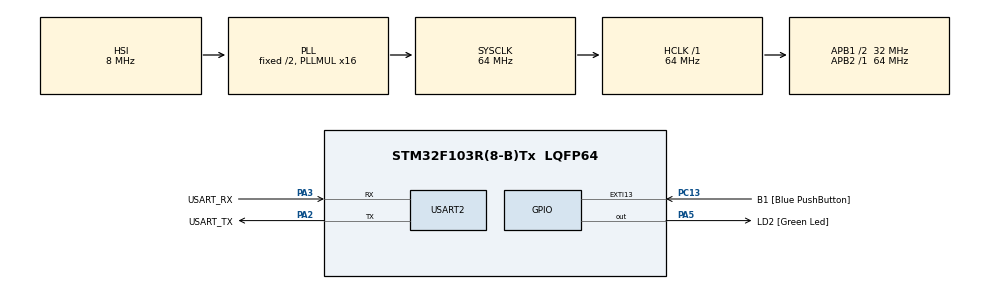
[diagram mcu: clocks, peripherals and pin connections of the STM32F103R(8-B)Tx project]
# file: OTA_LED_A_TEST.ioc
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Mcu.Family=STM32F1
Mcu.Name=STM32F103R(8-B)Tx
Mcu.Package=LQFP64
NVIC.EXTI15_10_IRQn=true\:0\:0\:false\:false\:true\:true\:true\:true
NVIC.PriorityGroup=NVIC_PRIORITYGROUP_4
PA13.GPIO_Label=TMS
PA13.Mode=Serial_Wire
PA13.Signal=SYS_JTMS-SWDIO
PA14.GPIO_Label=TCK
PA14.Mode=Serial_Wire
PA14.Signal=SYS_JTCK-SWCLK
PA2.GPIO_Label=USART_TX
PA2.GPIO_Mode=GPIO_MODE_AF_PP
PA2.GPIO_PuPd=GPIO_NOPULL
PA2.GPIO_Speed=GPIO_SPEED_FREQ_LOW
PA2.Mode=Asynchronous
PA2.Signal=USART2_TX
PA3.GPIO_Label=USART_RX
PA3.GPIO_Mode=GPIO_MODE_AF_PP
PA3.GPIO_PuPd=GPIO_NOPULL
PA3.GPIO_Speed=GPIO_SPEED_FREQ_LOW
PA3.Mode=Asynchronous
PA3.Signal=USART2_RX
PA5.GPIO_Label=LD2 [Green Led]
PA5.GPIO_ModeDefaultOutputPP=GPIO_MODE_OUTPUT_PP
PA5.GPIO_PuPd=GPIO_NOPULL
PA5.GPIO_Speed=GPIO_SPEED_FREQ_LOW
PA5.Signal=GPIO_Output
PB3.GPIO_Label=SWO
PB3.Signal=SYS_JTDO-TRACESWO
PC13-TAMPER-RTC.GPIO_Label=B1 [Blue PushButton]
PC13-TAMPER-RTC.GPIO_PuPd=GPIO_NOPULL
PC13-TAMPER-RTC.Signal=GPXTI13
PC14-OSC32_IN.Mode=LSE-External-Oscillator
PC14-OSC32_IN.Signal=RCC_OSC32_IN
PC15-OSC32_OUT.Mode=LSE-External-Oscillator
PC15-OSC32_OUT.Signal=RCC_OSC32_OUT
PD0-OSC_IN.Mode=HSE-External-Clock-Source
PD0-OSC_IN.Signal=RCC_OSC_IN
PD1-OSC_OUT.Mode=HSE-External-Clock-Source
PD1-OSC_OUT.Signal=RCC_OSC_OUT
ProjectManager.HeapSize=0x200
ProjectManager.StackSize=0x400
ProjectManager.TargetToolchain=STM32CubeIDE
RCC.AHBFreq_Value=64000000
RCC.APB1CLKDivider=RCC_HCLK_DIV2
RCC.APB1Freq_Value=32000000
RCC.APB1TimFreq_Value=64000000
RCC.APB2Freq_Value=64000000
RCC.APB2TimFreq_Value=64000000
RCC.HCLKFreq_Value=64000000
RCC.PLLMUL=RCC_PLL_MUL16
RCC.RTCClockSelection=RCC_RTCCLKSOURCE_LSE
RCC.SYSCLKFreq_VALUE=64000000
RCC.SYSCLKSource=RCC_SYSCLKSOURCE_PLLCLK
RCC.USBFreq_Value=64000000
USART2.VirtualMode=VM_ASYNC
board=NUCLEO-F103RB

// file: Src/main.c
/* USER CODE BEGIN Header */
/**
  ******************************************************************************
  * @file           : main.c
  * @brief          : Main program body
  ******************************************************************************
  * @attention
  *
  * Copyright (c) 2026 STMicroelectronics.
  * All rights reserved.
  *
  * This software is licensed under terms that can be found in the LICENSE file
  * in the root directory of this software component.
  * If no LICENSE file comes with this software, it is provided AS-IS.
  *
  ******************************************************************************
  */
/* USER CODE END Header */
#include "main.h"

/* USER CODE BEGIN Includes */
#include <stdlib.h>
#include <string.h>
#include <stdio.h>
#include "../../Common/ota_fault_protocol.h"

/* USER CODE END Includes */

/* USER CODE BEGIN PTD */
typedef enum
{
  FW_STATE_WAIT_HEADER = 0,
  FW_STATE_RECEIVE_BINARY
} FirmwareReceiveState;

typedef struct
{
  uint8_t data[64];
  uint32_t data_length;
  uint64_t bit_length;
  uint32_t state[8];
} Sha256Context;

/* USER CODE END PTD */

/* USER CODE BEGIN PD */
#define APPLICATION_SLOT_ADDRESS 0x08010000U
#define TARGET_SLOT_ADDRESS      0x08004000U
#define TARGET_SLOT_SIZE_BYTES   (48U * 1024U)
#define FLASH_PAGE_SIZE_BYTES   1024U
#define TARGET_SLOT_PAGE_COUNT  (TARGET_SLOT_SIZE_BYTES / FLASH_PAGE_SIZE_BYTES)
#define BOOT_FLAG_ADDRESS       0x0801FC00U
#define BOOT_FLAG_SLOT_A_MAGIC  0xA55AA55AU
#define BOOT_FLAG_SLOT_B_MAGIC  0xB007B007U
#define TARGET_BOOT_FLAG_MAGIC  BOOT_FLAG_SLOT_A_MAGIC
#define ACTIVE_BOOT_FLAG_MAGIC  BOOT_FLAG_SLOT_B_MAGIC
#define STARTUP_MESSAGE         "SLOT_B_RUNNING\r\n"
#define STRINGIFY_INNER(value)  #value
#define STRINGIFY(value)        STRINGIFY_INNER(value)
#ifndef ECU_SUFFIX
#define ECU_SUFFIX              001
#endif
#define ECU_ID                  "stm32-led-" STRINGIFY(ECU_SUFFIX)
#ifndef FW_VERSION_MAJOR
#define FW_VERSION_MAJOR        1
#endif
#ifndef FW_VERSION_MINOR
#define FW_VERSION_MINOR        8
#endif
#ifndef FW_VERSION_PATCH
#define FW_VERSION_PATCH        0
#endif
#define FW_VERSION              STRINGIFY(FW_VERSION_MAJOR) "." \
                                STRINGIFY(FW_VERSION_MINOR) "." \
                                STRINGIFY(FW_VERSION_PATCH)
#define ACTIVE_SLOT             "B"
#define TARGET_SLOT             "A"
#define HEALTH_STATUS           "OK"
#define STATUS_BUFFER_SIZE      512U
#ifndef LED_TOGGLE_INTERVAL_MS
#define LED_TOGGLE_INTERVAL_MS  1000U
#endif
#define FW_HEADER_BUFFER_SIZE   128U
#define FW_DATA_BUFFER_SIZE     256U
#define SHA256_HEX_LENGTH       64U
#define ADC_SAMPLE_COUNT        16U
#define ADC_CHANNEL_TEMPERATURE 16U
#define ADC_CHANNEL_VREFINT     17U
#define VREFINT_TYPICAL_MV      1200U
#define TEMPERATURE_V25_UV      1430000L
#define TEMPERATURE_SLOPE_UV_C  4300L
#define POWER_GOOD_MIN_MV       2700U
#define POWER_GOOD_MAX_MV       3600U
#define FW_RECEIVE_TIMEOUT_MS   2000U

/* USER CODE END PD */

UART_HandleTypeDef huart2;

/* USER CODE BEGIN PV */
static char fw_header_buffer[FW_HEADER_BUFFER_SIZE];
static uint16_t fw_header_length = 0U;
static uint32_t expected_firmware_size = 0U;
static char expected_sha256[SHA256_HEX_LENGTH + 1U];
static FirmwareReceiveState firmware_receive_state = FW_STATE_WAIT_HEADER;
static uint32_t received_firmware_size = 0U;
static uint32_t target_slot_write_address = TARGET_SLOT_ADDRESS;
static uint8_t fw_data_buffer[FW_DATA_BUFFER_SIZE];
static uint32_t uart_error_count = 0U;
static const char *reset_cause = "UNKNOWN";
static uint16_t boot_id = 0U;
static OtaFaultState fault_state = {
    OTA_FAULT_NORMAL, 0U, 0U, OTA_RESET_CONTEXT_NONE
};
extern uint8_t __flash_image_end__;

/* USER CODE END PV */

void SystemClock_Config(void);
static void MX_GPIO_Init(void);
static void MX_USART2_UART_Init(void);
/* USER CODE BEGIN PFP */
static void Serial_Send(const char *message);
static uint8_t Is_Hex_String(const char *text, uint32_t length);
static uint8_t Parse_FW_BEGIN(char *line);
static uint8_t Parse_Fault_Set(char *line);
static void Initialize_Boot_Tracking(void);
static void Load_Control_Record(void);
static HAL_StatusTypeDef Erase_Target_Slot(void);
static HAL_StatusTypeDef Erase_Boot_Flag(void);
static HAL_StatusTypeDef Write_Target_Slot_Data(
    uint32_t address,
    const uint8_t *data,
    uint16_t length
);
static HAL_StatusTypeDef Write_Boot_Flag(void);
static HAL_StatusTypeDef Write_Control_Record(
    uint32_t boot_flag,
    uint32_t reset_context
);
static void Calculate_Target_Slot_SHA256(uint8_t digest[32]);
static uint8_t SHA256_Matches_Expected(const uint8_t digest[32]);
static void Make_UID_String(char uid_string[25]);
static const char *Detect_Reset_Cause(void);
static void Telemetry_ADC_Init(void);
static uint16_t Read_ADC_Channel_Average(uint8_t channel);
static uint8_t Read_Hardware_Telemetry(
    uint32_t *vdd_mv,
    int32_t *temperature_mc
);
static uint32_t Get_Application_Flash_Used(void);
static void Send_Status_Response(void);
static void Process_Serial_Command(void);
static void Receive_Firmware_Data(void);

/* USER CODE END PFP */

/* USER CODE BEGIN 0 */
static const uint32_t sha256_constants[64] =
{
  0x428A2F98U, 0x71374491U, 0xB5C0FBCFU, 0xE9B5DBA5U,
  0x3956C25BU, 0x59F111F1U, 0x923F82A4U, 0xAB1C5ED5U,
  0xD807AA98U, 0x12835B01U, 0x243185BEU, 0x550C7DC3U,
  0x72BE5D74U, 0x80DEB1FEU, 0x9BDC06A7U, 0xC19BF174U,
  0xE49B69C1U, 0xEFBE4786U, 0x0FC19DC6U, 0x240CA1CCU,
  0x2DE92C6FU, 0x4A7484AAU, 0x5CB0A9DCU, 0x76F988DAU,
  0x983E5152U, 0xA831C66DU, 0xB00327C8U, 0xBF597FC7U,
  0xC6E00BF3U, 0xD5A79147U, 0x06CA6351U, 0x14292967U,
  0x27B70A85U, 0x2E1B2138U, 0x4D2C6DFCU, 0x53380D13U,
  0x650A7354U, 0x766A0ABBU, 0x81C2C92EU, 0x92722C85U,
  0xA2BFE8A1U, 0xA81A664BU, 0xC24B8B70U, 0xC76C51A3U,
  0xD192E819U, 0xD6990624U, 0xF40E3585U, 0x106AA070U,
  0x19A4C116U, 0x1E376C08U, 0x2748774CU, 0x34B0BCB5U,
  0x391C0CB3U, 0x4ED8AA4AU, 0x5B9CCA4FU, 0x682E6FF3U,
  0x748F82EEU, 0x78A5636FU, 0x84C87814U, 0x8CC70208U,
  0x90BEFFFAU, 0xA4506CEBU, 0xBEF9A3F7U, 0xC67178F2U
};

static uint32_t SHA256_Rotate_Right(uint32_t value, uint32_t count)
{
  return (value >> count) | (value << (32U - count));
}

static void SHA256_Transform(Sha256Context *context, const uint8_t block[64])
{
  uint32_t words[64];
  uint32_t a;
  uint32_t b;
  uint32_t c;
  uint32_t d;
  uint32_t e;
  uint32_t f;
  uint32_t g;
  uint32_t h;
  uint32_t index;

  for (index = 0U; index < 16U; index++)
  {
    uint32_t byte_index = index * 4U;

    words[index] =
        ((uint32_t)block[byte_index] << 24U) |
        ((uint32_t)block[byte_index + 1U] << 16U) |
        ((uint32_t)block[byte_index + 2U] << 8U) |
        ((uint32_t)block[byte_index + 3U]);
  }

  for (index = 16U; index < 64U; index++)
  {
    uint32_t sigma0 =
        SHA256_Rotate_Right(words[index - 15U], 7U) ^
        SHA256_Rotate_Right(words[index - 15U], 18U) ^
        (words[index - 15U] >> 3U);
    uint32_t sigma1 =
        SHA256_Rotate_Right(words[index - 2U], 17U) ^
        SHA256_Rotate_Right(words[index - 2U], 19U) ^
        (words[index - 2U] >> 10U);

    words[index] = words[index - 16U] + sigma0 +
                   words[index - 7U] + sigma1;
  }

  a = context->state[0];
  b = context->state[1];
  c = context->state[2];
  d = context->state[3];
  e = context->state[4];
  f = context->state[5];
  g = context->state[6];
  h = context->state[7];

  for (index = 0U; index < 64U; index++)
  {
    uint32_t sum1 =
        SHA256_Rotate_Right(e, 6U) ^
        SHA256_Rotate_Right(e, 11U) ^
        SHA256_Rotate_Right(e, 25U);
    uint32_t choice = (e & f) ^ ((~e) & g);
    uint32_t temporary1 = h + sum1 + choice +
                          sha256_constants[index] + words[index];
    uint32_t sum0 =
        SHA256_Rotate_Right(a, 2U) ^
        SHA256_Rotate_Right(a, 13U) ^
        SHA256_Rotate_Right(a, 22U);
    uint32_t majority = (a & b) ^ (a & c) ^ (b & c);
    uint32_t temporary2 = sum0 + majority;

    h = g;
    g = f;
    f = e;
    e = d + temporary1;
    d = c;
    c = b;
    b = a;
    a = temporary1 + temporary2;
  }

  context->state[0] += a;
  context->state[1] += b;
  context->state[2] += c;
  context->state[3] += d;
  context->state[4] += e;
  context->state[5] += f;
  context->state[6] += g;
  context->state[7] += h;
}

static void SHA256_Init(Sha256Context *context)
{
  context->data_length = 0U;
  context->bit_length = 0U;
  context->state[0] = 0x6A09E667U;
  context->state[1] = 0xBB67AE85U;
  context->state[2] = 0x3C6EF372U;
  context->state[3] = 0xA54FF53AU;
  context->state[4] = 0x510E527FU;
  context->state[5] = 0x9B05688CU;
  context->state[6] = 0x1F83D9ABU;
  context->state[7] = 0x5BE0CD19U;
}

static void SHA256_Update(
    Sha256Context *context,
    const uint8_t *data,
    uint32_t length
)
{
  uint32_t index;

  for (index = 0U; index < length; index++)
  {
    context->data[context->data_length] = data[index];
    context->data_length++;

    if (context->data_length == 64U)
    {
      SHA256_Transform(context, context->data);
      context->bit_length += 512U;
      context->data_length = 0U;
    }
  }
}

static void SHA256_Final(Sha256Context *context, uint8_t digest[32])
{
  uint32_t index = context->data_length;
  uint32_t state_index;

  context->data[index] = 0x80U;
  index++;

  if (index > 56U)
  {
    while (index < 64U)
    {
      context->data[index] = 0U;
      index++;
    }

    SHA256_Transform(context, context->data);
    index = 0U;
  }

  while (index < 56U)
  {
    context->data[index] = 0U;
    index++;
  }

  context->bit_length += (uint64_t)context->data_length * 8U;

  for (index = 0U; index < 8U; index++)
  {
    context->data[63U - index] =
        (uint8_t)(context->bit_length >> (index * 8U));
  }

  SHA256_Transform(context, context->data);

  for (state_index = 0U; state_index < 8U; state_index++)
  {
    digest[state_index * 4U] =
        (uint8_t)(context->state[state_index] >> 24U);
    digest[state_index * 4U + 1U] =
        (uint8_t)(context->state[state_index] >> 16U);
    digest[state_index * 4U + 2U] =
        (uint8_t)(context->state[state_index] >> 8U);
    digest[state_index * 4U + 3U] =
        (uint8_t)context->state[state_index];
  }
}

static uint8_t Hex_Character_To_Value(char character)
{
  if ((character >= '0') && (character <= '9'))
  {
    return (uint8_t)(character - '0');
  }

  if ((character >= 'a') && (character <= 'f'))
  {
    return (uint8_t)(character - 'a' + 10);
  }

  return (uint8_t)(character - 'A' + 10);
}

static void Calculate_Target_Slot_SHA256(uint8_t digest[32])
{
  Sha256Context context;

  SHA256_Init(&context);
  SHA256_Update(
      &context,
      (const uint8_t *)TARGET_SLOT_ADDRESS,
      expected_firmware_size
  );
  SHA256_Final(&context, digest);
}

static uint8_t SHA256_Matches_Expected(const uint8_t digest[32])
{
  uint32_t index;

  for (index = 0U; index < 32U; index++)
  {
    uint8_t expected_byte =
        (uint8_t)(Hex_Character_To_Value(expected_sha256[index * 2U]) << 4U) |
        Hex_Character_To_Value(expected_sha256[index * 2U + 1U]);

    if (digest[index] != expected_byte)
    {
      return 0U;
    }
  }

  return 1U;
}

static void Serial_Send(const char *message)
{
  HAL_StatusTypeDef transmit_status;

  transmit_status = HAL_UART_Transmit(
      &huart2,
      (uint8_t *)message,
      (uint16_t)strlen(message),
      HAL_MAX_DELAY
  );

  if (transmit_status == HAL_ERROR)
  {
    uart_error_count++;
  }
}

static void Make_UID_String(char uid_string[25])
{
  uint32_t uid0 = *(volatile uint32_t *)0x1FFFF7E8U;
  uint32_t uid1 = *(volatile uint32_t *)0x1FFFF7ECU;
  uint32_t uid2 = *(volatile uint32_t *)0x1FFFF7F0U;

  snprintf(
      uid_string,
      25U,
      "%08lX%08lX%08lX",
      (unsigned long)uid0,
      (unsigned long)uid1,
      (unsigned long)uid2
  );
}

static const char *Detect_Reset_Cause(void)
{
  const char *cause = "UNKNOWN";

  if (__HAL_RCC_GET_FLAG(RCC_FLAG_IWDGRST) ||
      __HAL_RCC_GET_FLAG(RCC_FLAG_WWDGRST))
  {
    cause = "WATCHDOG";
  }
  else if (__HAL_RCC_GET_FLAG(RCC_FLAG_SFTRST))
  {
    cause = "SOFTWARE";
  }
  else if (__HAL_RCC_GET_FLAG(RCC_FLAG_PORRST))
  {
    cause = "POWER_ON";
  }
  else if (__HAL_RCC_GET_FLAG(RCC_FLAG_PINRST))
  {
    cause = "PIN_RESET";
  }

  __HAL_RCC_CLEAR_RESET_FLAGS();

  return cause;
}

static void Initialize_Boot_Tracking(void)
{
  RCC->APB1ENR |= RCC_APB1ENR_PWREN | RCC_APB1ENR_BKPEN;
  PWR->CR |= PWR_CR_DBP;

  boot_id = (uint16_t)(BKP->DR1 + 1U);
  if (boot_id == 0U)
  {
    boot_id = 1U;
  }
  BKP->DR1 = boot_id;
}

static void Load_Control_Record(void)
{
  uint32_t magic = *(volatile uint32_t *)(
      BOOT_FLAG_ADDRESS + OTA_CONTROL_MAGIC_OFFSET
  );
  uint32_t scenario = *(volatile uint32_t *)(
      BOOT_FLAG_ADDRESS + OTA_CONTROL_SCENARIO_OFFSET
  );

  if ((magic == OTA_CONTROL_RECORD_MAGIC) &&
      (scenario <= (uint32_t)OTA_FAULT_POST_REBOOT_HEALTH_FAIL))
  {
    fault_state.scenario = (OtaFaultScenario)scenario;
    fault_state.reset_context = *(volatile uint32_t *)(
        BOOT_FLAG_ADDRESS + OTA_CONTROL_CONTEXT_OFFSET
    );
    fault_state.attempt_id = *(volatile uint32_t *)(
        BOOT_FLAG_ADDRESS + OTA_CONTROL_ATTEMPT_OFFSET
    );
    if (fault_state.scenario == OTA_FAULT_BOOT_FAILED)
    {
      fault_state.reset_context = OTA_RESET_CONTEXT_BOOT_TEST;
    }
  }
}

static void Telemetry_ADC_Init(void)
{
  RCC->CFGR = (RCC->CFGR & ~RCC_CFGR_ADCPRE) |
              RCC_CFGR_ADCPRE_DIV6;
  RCC->APB2ENR |= RCC_APB2ENR_ADC1EN;
  RCC->APB2RSTR |= RCC_APB2RSTR_ADC1RST;
  RCC->APB2RSTR &= ~RCC_APB2RSTR_ADC1RST;

  ADC1->CR1 = 0U;
  ADC1->CR2 = ADC_CR2_TSVREFE | ADC_CR2_EXTSEL | ADC_CR2_ADON;
  ADC1->SMPR1 |= ADC_SMPR1_SMP16 | ADC_SMPR1_SMP17;
  ADC1->SQR1 &= ~ADC_SQR1_L;

  HAL_Delay(1U);
  ADC1->CR2 |= ADC_CR2_RSTCAL;
  while ((ADC1->CR2 & ADC_CR2_RSTCAL) != 0U)
  {
  }
  ADC1->CR2 |= ADC_CR2_CAL;
  while ((ADC1->CR2 & ADC_CR2_CAL) != 0U)
  {
  }
  HAL_Delay(1U);
}

static uint16_t Read_ADC_Channel_Average(uint8_t channel)
{
  uint32_t sum = 0U;
  uint32_t sample_index;

  ADC1->SQR3 = (ADC1->SQR3 & ~ADC_SQR3_SQ1) |
               ((uint32_t)channel & ADC_SQR3_SQ1);

  for (sample_index = 0U;
       sample_index < (ADC_SAMPLE_COUNT + 1U);
       sample_index++)
  {
    uint32_t started_at;
    uint16_t sample;

    ADC1->SR &= ~ADC_SR_EOC;
    ADC1->CR2 |= ADC_CR2_EXTTRIG | ADC_CR2_SWSTART;
    started_at = HAL_GetTick();

    while ((ADC1->SR & ADC_SR_EOC) == 0U)
    {
      if ((HAL_GetTick() - started_at) > 5U)
      {
        return 0U;
      }
    }

    sample = (uint16_t)(ADC1->DR & 0x0FFFU);
    if (sample_index != 0U)
    {
      sum += sample;
    }
  }

  return (uint16_t)(sum / ADC_SAMPLE_COUNT);
}

static uint8_t Read_Hardware_Telemetry(
    uint32_t *vdd_mv,
    int32_t *temperature_mc
)
{
  uint16_t vref_raw;
  uint16_t temperature_raw;
  int64_t vsense_uv;
  int64_t temperature_delta_mc;

  vref_raw = Read_ADC_Channel_Average(ADC_CHANNEL_VREFINT);
  temperature_raw =
      Read_ADC_Channel_Average(ADC_CHANNEL_TEMPERATURE);

  if ((vref_raw == 0U) || (temperature_raw == 0U))
  {
    *vdd_mv = 0U;
    *temperature_mc = 0;
    return 0U;
  }

  *vdd_mv = (VREFINT_TYPICAL_MV * 4095U) / vref_raw;
  vsense_uv =
      ((int64_t)temperature_raw * (int64_t)(*vdd_mv) * 1000LL) /
      4095LL;
  temperature_delta_mc =
      ((TEMPERATURE_V25_UV - vsense_uv) * 1000LL) /
      TEMPERATURE_SLOPE_UV_C;
  *temperature_mc = (int32_t)(25000LL + temperature_delta_mc);

  return 1U;
}

static uint32_t Get_Application_Flash_Used(void)
{
  uint32_t image_end = (uint32_t)&__flash_image_end__;

  if ((image_end < APPLICATION_SLOT_ADDRESS) ||
      (image_end > (APPLICATION_SLOT_ADDRESS + TARGET_SLOT_SIZE_BYTES)))
  {
    return TARGET_SLOT_SIZE_BYTES;
  }

  return image_end - APPLICATION_SLOT_ADDRESS;
}

static void Send_Status_Response(void)
{
  char status_buffer[STATUS_BUFFER_SIZE];
  char uid_string[25];
  uint32_t vdd_mv;
  int32_t temperature_mc;
  uint32_t app_used;
  uint32_t app_free;
  uint8_t telemetry_valid;
  uint8_t power_good;
  const char *health;

  if ((fault_state.scenario == OTA_FAULT_LINK_DELAY_LOW) ||
      (fault_state.scenario == OTA_FAULT_LINK_DELAY_MEDIUM) ||
      (fault_state.scenario == OTA_FAULT_LINK_DELAY_HIGH_ALLOW))
  {
    HAL_Delay(fault_state.value);
  }

  Make_UID_String(uid_string);
  telemetry_valid = Read_Hardware_Telemetry(
      &vdd_mv,
      &temperature_mc
  );
  if ((fault_state.scenario == OTA_FAULT_VOLTAGE_LOW_ALLOW) ||
      (fault_state.scenario == OTA_FAULT_VOLTAGE_BLOCK))
  {
    vdd_mv = fault_state.value;
    telemetry_valid = 1U;
  }
  if ((fault_state.scenario == OTA_FAULT_TEMP_HIGH_ALLOW) ||
      (fault_state.scenario == OTA_FAULT_TEMP_BLOCK))
  {
    temperature_mc = (int32_t)fault_state.value;
    telemetry_valid = 1U;
  }
  app_used = Get_Application_Flash_Used();
  app_free = TARGET_SLOT_SIZE_BYTES - app_used;
  power_good = (uint8_t)(
      (telemetry_valid != 0U) &&
      (vdd_mv >= POWER_GOOD_MIN_MV) &&
      (vdd_mv <= POWER_GOOD_MAX_MV)
  );
  health = (
      fault_state.scenario == OTA_FAULT_POST_REBOOT_HEALTH_FAIL
  ) ? "ERROR" : HEALTH_STATUS;

  snprintf(
      status_buffer,
      sizeof(status_buffer),
      "STATUS,%s,"
      "UID=%s,"
      "VER=%s,"
      "ACTIVE=%s,"
      "TARGET=%s,"
      "READY=1,"
      "MAX=%lu,"
      "VDD_MV=%lu,"
      "TEMP_MC=%ld,"
      "APP_USED=%lu,"
      "APP_FREE=%lu,"
      "POWER_GOOD=%u,"
      "TELEMETRY_VALID=%u,"
      "UPTIME_MS=%lu,"
      "RESET=%s,"
      "RESET_CONTEXT=%s,"
      "BOOT_ID=%u,"
      "SCENARIO=%s,"
      "ATTEMPT_ID=%08lX,"
      "UART_ERR=%lu,"
      "HEALTH=%s\r\n",
      ECU_ID,
      uid_string,
      FW_VERSION,
      ACTIVE_SLOT,
      TARGET_SLOT,
      (unsigned long)TARGET_SLOT_SIZE_BYTES,
      (unsigned long)vdd_mv,
      (long)temperature_mc,
      (unsigned long)app_used,
      (unsigned long)app_free,
      (unsigned int)power_good,
      (unsigned int)telemetry_valid,
      (unsigned long)HAL_GetTick(),
      reset_cause,
      OtaResetContext_Name(fault_state.reset_context),
      (unsigned int)boot_id,
      OtaFault_Name(fault_state.scenario),
      (unsigned long)fault_state.attempt_id,
      (unsigned long)uart_error_count,
      health
  );

  Serial_Send(status_buffer);
}

static uint8_t Is_Hex_String(const char *text, uint32_t length)
{
  uint32_t index;

  for (index = 0U; index < length; index++)
  {
    char value = text[index];

    if (!(((value >= '0') && (value <= '9')) ||
          ((value >= 'a') && (value <= 'f')) ||
          ((value >= 'A') && (value <= 'F'))))
    {
      return 0U;
    }
  }

  return 1U;
}

static uint8_t Parse_FW_BEGIN(char *line)
{
  const char prefix[] = "FW_BEGIN,";
  char *size_text;
  char *sha256_text;
  char *parse_end;
  unsigned long parsed_size;

  if (strncmp(line, prefix, sizeof(prefix) - 1U) != 0)
  {
    return 0U;
  }

  size_text = line + sizeof(prefix) - 1U;
  sha256_text = strchr(size_text, ',');

  if (sha256_text == NULL)
  {
    return 0U;
  }

  *sha256_text = '\0';
  sha256_text++;

  parsed_size = strtoul(size_text, &parse_end, 10);

  if ((size_text[0] == '\0') ||
      (*parse_end != '\0') ||
      (parsed_size == 0UL) ||
      (parsed_size > TARGET_SLOT_SIZE_BYTES))
  {
    return 0U;
  }

  if ((strlen(sha256_text) != SHA256_HEX_LENGTH) ||
      (Is_Hex_String(sha256_text, SHA256_HEX_LENGTH) == 0U))
  {
    return 0U;
  }

  expected_firmware_size = (uint32_t)parsed_size;
  memcpy(expected_sha256, sha256_text, SHA256_HEX_LENGTH + 1U);

  return 1U;
}

static uint8_t Parse_Fault_Set(char *line)
{
  char *scenario_text;
  char *parameter_text;
  char *value_text;
  char *attempt_text;
  char *extra_text;
  char *parse_end;
  unsigned long parsed_value;
  unsigned long parsed_attempt = 0UL;
  OtaFaultScenario scenario;
  uint32_t boot_flag;
  char ack[64];

  if (strncmp(line, "FAULT_SET,", 10U) != 0)
  {
    return 0U;
  }

  (void)strtok(line, ",");
  scenario_text = strtok(NULL, ",");
  parameter_text = strtok(NULL, ",");
  value_text = strtok(NULL, ",");
  attempt_text = strtok(NULL, ",");
  extra_text = strtok(NULL, ",");

  if ((scenario_text == NULL) || (parameter_text == NULL) ||
      (value_text == NULL) || (extra_text != NULL) ||
      (OtaFault_Parse(scenario_text, &scenario) == 0U) ||
      (strcmp(parameter_text, OtaFault_Parameter(scenario)) != 0))
  {
    Serial_Send("FAULT_BAD_COMMAND\r\n");
    return 1U;
  }

  parsed_value = strtoul(value_text, &parse_end, 10);
  if ((value_text[0] == '\0') || (*parse_end != '\0') ||
      (OtaFault_Value_Is_Valid(
          scenario,
          (uint32_t)parsed_value
      ) == 0U))
  {
    Serial_Send("FAULT_BAD_VALUE\r\n");
    return 1U;
  }

  if (attempt_text != NULL)
  {
    if ((strlen(attempt_text) != 8U) ||
        (Is_Hex_String(attempt_text, 8U) == 0U))
    {
      Serial_Send("FAULT_BAD_ATTEMPT\r\n");
      return 1U;
    }
    parsed_attempt = strtoul(attempt_text, &parse_end, 16);
    if (*parse_end != '\0')
    {
      Serial_Send("FAULT_BAD_ATTEMPT\r\n");
      return 1U;
    }
  }

  fault_state.scenario = scenario;
  fault_state.value = (uint32_t)parsed_value;
  fault_state.attempt_id = (uint32_t)parsed_attempt;
  fault_state.reset_context = OTA_RESET_CONTEXT_NONE;

  boot_flag = *(volatile uint32_t *)BOOT_FLAG_ADDRESS;
  if ((boot_flag != BOOT_FLAG_SLOT_A_MAGIC) &&
      (boot_flag != BOOT_FLAG_SLOT_B_MAGIC))
  {
    boot_flag = ACTIVE_BOOT_FLAG_MAGIC;
  }

  if (Write_Control_Record(
          boot_flag,
          OTA_RESET_CONTEXT_NONE
      ) != HAL_OK)
  {
    Serial_Send("FAULT_PERSIST_FAIL\r\n");
    return 1U;
  }

  snprintf(
      ack,
      sizeof(ack),
      "FAULT_ACK,%s\r\n",
      OtaFault_Name(scenario)
  );
  Serial_Send(ack);
  return 1U;
}

static HAL_StatusTypeDef Erase_Target_Slot(void)
{
  FLASH_EraseInitTypeDef erase_config = {0};
  HAL_StatusTypeDef erase_status;
  uint32_t page_error = 0U;

  erase_config.TypeErase = FLASH_TYPEERASE_PAGES;
  erase_config.PageAddress = TARGET_SLOT_ADDRESS;
  erase_config.NbPages = TARGET_SLOT_PAGE_COUNT;

  HAL_FLASH_Unlock();

  __HAL_FLASH_CLEAR_FLAG(
      FLASH_FLAG_EOP |
      FLASH_FLAG_PGERR |
      FLASH_FLAG_WRPERR
  );

  erase_status = HAL_FLASHEx_Erase(&erase_config, &page_error);

  HAL_FLASH_Lock();

  return erase_status;
}

static HAL_StatusTypeDef Erase_Boot_Flag(void)
{
  FLASH_EraseInitTypeDef erase_config = {0};
  HAL_StatusTypeDef erase_status;
  uint32_t page_error = 0U;

  erase_config.TypeErase = FLASH_TYPEERASE_PAGES;
  erase_config.PageAddress = BOOT_FLAG_ADDRESS;
  erase_config.NbPages = 1U;

  HAL_FLASH_Unlock();

  __HAL_FLASH_CLEAR_FLAG(
      FLASH_FLAG_EOP |
      FLASH_FLAG_PGERR |
      FLASH_FLAG_WRPERR
  );

  erase_status = HAL_FLASHEx_Erase(&erase_config, &page_error);

  HAL_FLASH_Lock();

  return erase_status;
}

static HAL_StatusTypeDef Write_Target_Slot_Data(
    uint32_t address,
    const uint8_t *data,
    uint16_t length
)
{
  HAL_StatusTypeDef write_status = HAL_OK;
  uint16_t offset;

  HAL_FLASH_Unlock();

  for (offset = 0U; offset < length; offset += 2U)
  {
    uint16_t halfword = data[offset];

    if ((offset + 1U) < length)
    {
      halfword |= (uint16_t)((uint16_t)data[offset + 1U] << 8U);
    }
    else
    {
      halfword |= 0xFF00U;
    }

    write_status = HAL_FLASH_Program(
        FLASH_TYPEPROGRAM_HALFWORD,
        address + offset,
        halfword
    );

    if (write_status != HAL_OK)
    {
      break;
    }
  }

  HAL_FLASH_Lock();

  return write_status;
}

static HAL_StatusTypeDef Program_Flash_Word(
    uint32_t address,
    uint32_t value
)
{
  HAL_StatusTypeDef status;

  if (value == 0xFFFFFFFFUL)
  {
    return HAL_OK;
  }

  status = HAL_FLASH_Program(
      FLASH_TYPEPROGRAM_HALFWORD,
      address,
      (uint16_t)(value & 0xFFFFU)
  );
  if (status == HAL_OK)
  {
    status = HAL_FLASH_Program(
        FLASH_TYPEPROGRAM_HALFWORD,
        address + 2U,
        (uint16_t)(value >> 16U)
    );
  }
  return status;
}

static HAL_StatusTypeDef Write_Control_Record(
    uint32_t boot_flag,
    uint32_t reset_context
)
{
  HAL_StatusTypeDef write_status;
  uint32_t addresses[5] = {
      BOOT_FLAG_ADDRESS,
      BOOT_FLAG_ADDRESS + OTA_CONTROL_MAGIC_OFFSET,
      BOOT_FLAG_ADDRESS + OTA_CONTROL_SCENARIO_OFFSET,
      BOOT_FLAG_ADDRESS + OTA_CONTROL_CONTEXT_OFFSET,
      BOOT_FLAG_ADDRESS + OTA_CONTROL_ATTEMPT_OFFSET
  };
  uint32_t values[5] = {
      boot_flag,
      OTA_CONTROL_RECORD_MAGIC,
      (uint32_t)fault_state.scenario,
      reset_context,
      fault_state.attempt_id
  };
  uint32_t index;

  write_status = Erase_Boot_Flag();
  if (write_status != HAL_OK)
  {
    return write_status;
  }

  HAL_FLASH_Unlock();

  __HAL_FLASH_CLEAR_FLAG(
      FLASH_FLAG_EOP |
      FLASH_FLAG_PGERR |
      FLASH_FLAG_WRPERR
  );

  for (index = 0U; (index < 5U) && (write_status == HAL_OK); index++)
  {
    write_status = Program_Flash_Word(addresses[index], values[index]);
  }
  HAL_FLASH_Lock();

  for (index = 0U; (index < 5U) && (write_status == HAL_OK); index++)
  {
    if (*(volatile uint32_t *)addresses[index] != values[index])
    {
      write_status = HAL_ERROR;
    }
  }

  if (write_status == HAL_OK)
  {
    fault_state.reset_context = reset_context;
  }
  return write_status;
}

static HAL_StatusTypeDef Write_Boot_Flag(void)
{
  return Write_Control_Record(
      TARGET_BOOT_FLAG_MAGIC,
      OTA_RESET_CONTEXT_ACTIVATION
  );
}

static void Process_Serial_Command(void)
{
  uint8_t received_byte;
  HAL_StatusTypeDef receive_status;

  receive_status = HAL_UART_Receive(
      &huart2,
      &received_byte,
      1U,
      10U
  );

  if (receive_status == HAL_ERROR)
  {
    uart_error_count++;
  }

  if (receive_status != HAL_OK)
  {
    return;
  }

  if (received_byte == '\r')
  {
    return;
  }

  if (received_byte == '\n')
  {
    fw_header_buffer[fw_header_length] = '\0';

    if (strcmp(fw_header_buffer, "STATUS_REQ") == 0)
    {
      Send_Status_Response();
    }
    else if (Parse_Fault_Set(fw_header_buffer) != 0U)
    {
      /* Parse_Fault_Set sends either FAULT_ACK or a specific error. */
    }
    else if (Parse_FW_BEGIN(fw_header_buffer) != 0U)
    {
      if (Erase_Target_Slot() == HAL_OK)
      {
        received_firmware_size = 0U;
        target_slot_write_address = TARGET_SLOT_ADDRESS;
        firmware_receive_state = FW_STATE_RECEIVE_BINARY;
        Serial_Send("FW_READY\r\n");
      }
      else
      {
        Serial_Send("FW_ERASE_FAIL\r\n");
      }
    }
    else
    {
      Serial_Send("FW_BAD_HEADER\r\n");
    }

    fw_header_length = 0U;
    return;
  }

  if (fw_header_length < (FW_HEADER_BUFFER_SIZE - 1U))
  {
    fw_header_buffer[fw_header_length] = (char)received_byte;
    fw_header_length++;
  }
  else
  {
    fw_header_length = 0U;
    Serial_Send("FW_BAD_HEADER\r\n");
  }
}

static void Receive_Firmware_Data(void)
{
  uint32_t remaining_size;
  uint16_t receive_size;
  HAL_StatusTypeDef receive_status;

  if ((fault_state.scenario == OTA_FAULT_TRANSFER_TIMEOUT) &&
      (received_firmware_size >= fault_state.value))
  {
    Serial_Send("FW_RECEIVE_TIMEOUT\r\n");
    firmware_receive_state = FW_STATE_WAIT_HEADER;
    return;
  }
  if ((fault_state.scenario == OTA_FAULT_TRANSFER_INTERRUPTED) &&
      (received_firmware_size >= fault_state.value))
  {
    Serial_Send("FW_INTERRUPTED\r\n");
    firmware_receive_state = FW_STATE_WAIT_HEADER;
    return;
  }
  if ((fault_state.scenario == OTA_FAULT_RESET_DURING_TRANSFER) &&
      (received_firmware_size >= fault_state.value))
  {
    (void)Write_Control_Record(
        ACTIVE_BOOT_FLAG_MAGIC,
        OTA_RESET_CONTEXT_TRANSFER
    );
    HAL_Delay(20U);
    HAL_NVIC_SystemReset();
  }

  remaining_size = expected_firmware_size - received_firmware_size;

  if (remaining_size > FW_DATA_BUFFER_SIZE)
  {
    receive_size = FW_DATA_BUFFER_SIZE;
  }
  else
  {
    receive_size = (uint16_t)remaining_size;
  }

  receive_status = HAL_UART_Receive(
      &huart2,
      fw_data_buffer,
      receive_size,
      FW_RECEIVE_TIMEOUT_MS
  );

  if (receive_status != HAL_OK)
  {
    if (receive_status == HAL_ERROR)
    {
      uart_error_count++;
    }

    if (receive_status == HAL_TIMEOUT)
    {
      Serial_Send("FW_RECEIVE_TIMEOUT\r\n");
    }
    else
    {
      Serial_Send("FW_RECEIVE_FAIL\r\n");
    }
    firmware_receive_state = FW_STATE_WAIT_HEADER;
    return;
  }

  if ((fault_state.scenario == OTA_FAULT_TRANSFER_CORRUPTION) &&
      (fault_state.value >= received_firmware_size) &&
      (fault_state.value < (received_firmware_size + receive_size)))
  {
    fw_data_buffer[fault_state.value - received_firmware_size] ^= 0x01U;
  }

  if (Write_Target_Slot_Data(
          target_slot_write_address,
          fw_data_buffer,
          receive_size
      ) != HAL_OK)
  {
    Serial_Send("FW_WRITE_FAIL\r\n");
    firmware_receive_state = FW_STATE_WAIT_HEADER;
    return;
  }

  target_slot_write_address += receive_size;
  received_firmware_size += receive_size;

  if (received_firmware_size == expected_firmware_size)
  {
    uint8_t calculated_digest[32];

    firmware_receive_state = FW_STATE_WAIT_HEADER;
    Calculate_Target_Slot_SHA256(calculated_digest);

    if (SHA256_Matches_Expected(calculated_digest) == 0U)
    {
      Serial_Send("FW_HASH_FAIL\r\n");
      return;
    }

    if (Write_Boot_Flag() != HAL_OK)
    {
      Serial_Send("FW_FLAG_FAIL\r\n");
      return;
    }

    Serial_Send("FW_OK\r\n");
    HAL_Delay(100U);
    HAL_NVIC_SystemReset();
  }
}

/* USER CODE END 0 */

int main(void)
{

  /* USER CODE BEGIN 1 */
  SCB->VTOR = APPLICATION_SLOT_ADDRESS;
  /* USER CODE END 1 */

  /* MCU Configuration--------------------------------------------------------*/

  /* Reset of all peripherals, Initializes the Flash interface and the Systick. */
  HAL_Init();

  /* USER CODE BEGIN Init */
  reset_cause = Detect_Reset_Cause();

  /* USER CODE END Init */

  /* Configure the system clock */
  SystemClock_Config();

  /* Initialize all configured peripherals */
  MX_GPIO_Init();
  MX_USART2_UART_Init();
  /* USER CODE BEGIN 2 */
  uint32_t last_led_toggle = HAL_GetTick();

  Initialize_Boot_Tracking();
  Load_Control_Record();
  Telemetry_ADC_Init();
  Serial_Send(STARTUP_MESSAGE);
  /* USER CODE END 2 */

  /* Infinite loop */
  while (1)
  {

    /* USER CODE BEGIN 3 */
    if (firmware_receive_state == FW_STATE_WAIT_HEADER)
    {
      Process_Serial_Command();
    }
    else
    {
      Receive_Firmware_Data();
    }

    if ((HAL_GetTick() - last_led_toggle) >= LED_TOGGLE_INTERVAL_MS)
    {
      HAL_GPIO_TogglePin(LD2_GPIO_Port, LD2_Pin);
      last_led_toggle = HAL_GetTick();
    }
  }
  /* USER CODE END 3 */
  }

void SystemClock_Config(void)
{
  RCC_OscInitTypeDef RCC_OscInitStruct = {0};
  RCC_ClkInitTypeDef RCC_ClkInitStruct = {0};

  /** Initializes the RCC Oscillators according to the specified parameters
  * in the RCC_OscInitTypeDef structure.
  */
  RCC_OscInitStruct.OscillatorType = RCC_OSCILLATORTYPE_HSI;
  RCC_OscInitStruct.HSIState = RCC_HSI_ON;
  RCC_OscInitStruct.HSICalibrationValue = RCC_HSICALIBRATION_DEFAULT;
  RCC_OscInitStruct.PLL.PLLState = RCC_PLL_ON;
  RCC_OscInitStruct.PLL.PLLSource = RCC_PLLSOURCE_HSI_DIV2;
  RCC_OscInitStruct.PLL.PLLMUL = RCC_PLL_MUL16;
  if (HAL_RCC_OscConfig(&RCC_OscInitStruct) != HAL_OK)
  {
    Error_Handler();
  }

  /** Initializes the CPU, AHB and APB buses clocks
  */
  RCC_ClkInitStruct.ClockType = RCC_CLOCKTYPE_HCLK|RCC_CLOCKTYPE_SYSCLK
                              |RCC_CLOCKTYPE_PCLK1|RCC_CLOCKTYPE_PCLK2;
  RCC_ClkInitStruct.SYSCLKSource = RCC_SYSCLKSOURCE_PLLCLK;
  RCC_ClkInitStruct.AHBCLKDivider = RCC_SYSCLK_DIV1;
  RCC_ClkInitStruct.APB1CLKDivider = RCC_HCLK_DIV2;
  RCC_ClkInitStruct.APB2CLKDivider = RCC_HCLK_DIV1;

  if (HAL_RCC_ClockConfig(&RCC_ClkInitStruct, FLASH_LATENCY_2) != HAL_OK)
  {
    Error_Handler();
  }
}

static void MX_USART2_UART_Init(void)
{

  huart2.Instance = USART2;
  huart2.Init.BaudRate = 115200;
  huart2.Init.WordLength = UART_WORDLENGTH_8B;
  huart2.Init.StopBits = UART_STOPBITS_1;
  huart2.Init.Parity = UART_PARITY_NONE;
  huart2.Init.Mode = UART_MODE_TX_RX;
  huart2.Init.HwFlowCtl = UART_HWCONTROL_NONE;
  huart2.Init.OverSampling = UART_OVERSAMPLING_16;
  if (HAL_UART_Init(&huart2) != HAL_OK)
  {
    Error_Handler();
  }

}

static void MX_GPIO_Init(void)
{
  GPIO_InitTypeDef GPIO_InitStruct = {0};

  /* GPIO Ports Clock Enable */
  __HAL_RCC_GPIOC_CLK_ENABLE();
  __HAL_RCC_GPIOD_CLK_ENABLE();
  __HAL_RCC_GPIOA_CLK_ENABLE();
  __HAL_RCC_GPIOB_CLK_ENABLE();

  /*Configure GPIO pin Output Level */
  HAL_GPIO_WritePin(LD2_GPIO_Port, LD2_Pin, GPIO_PIN_RESET);

  /*Configure GPIO pin : B1_Pin */
  GPIO_InitStruct.Pin = B1_Pin;
  GPIO_InitStruct.Mode = GPIO_MODE_IT_RISING;
  GPIO_InitStruct.Pull = GPIO_NOPULL;
  HAL_GPIO_Init(B1_GPIO_Port, &GPIO_InitStruct);

  /*Configure GPIO pin : LD2_Pin */
  GPIO_InitStruct.Pin = LD2_Pin;
  GPIO_InitStruct.Mode = GPIO_MODE_OUTPUT_PP;
  GPIO_InitStruct.Pull = GPIO_NOPULL;
  GPIO_InitStruct.Speed = GPIO_SPEED_FREQ_LOW;
  HAL_GPIO_Init(LD2_GPIO_Port, &GPIO_InitStruct);

  /* EXTI interrupt init*/
  HAL_NVIC_SetPriority(EXTI15_10_IRQn, 0, 0);
  HAL_NVIC_EnableIRQ(EXTI15_10_IRQn);

}

void Error_Handler(void)
{
  __disable_irq();
  while (1)
  {
  }
}
